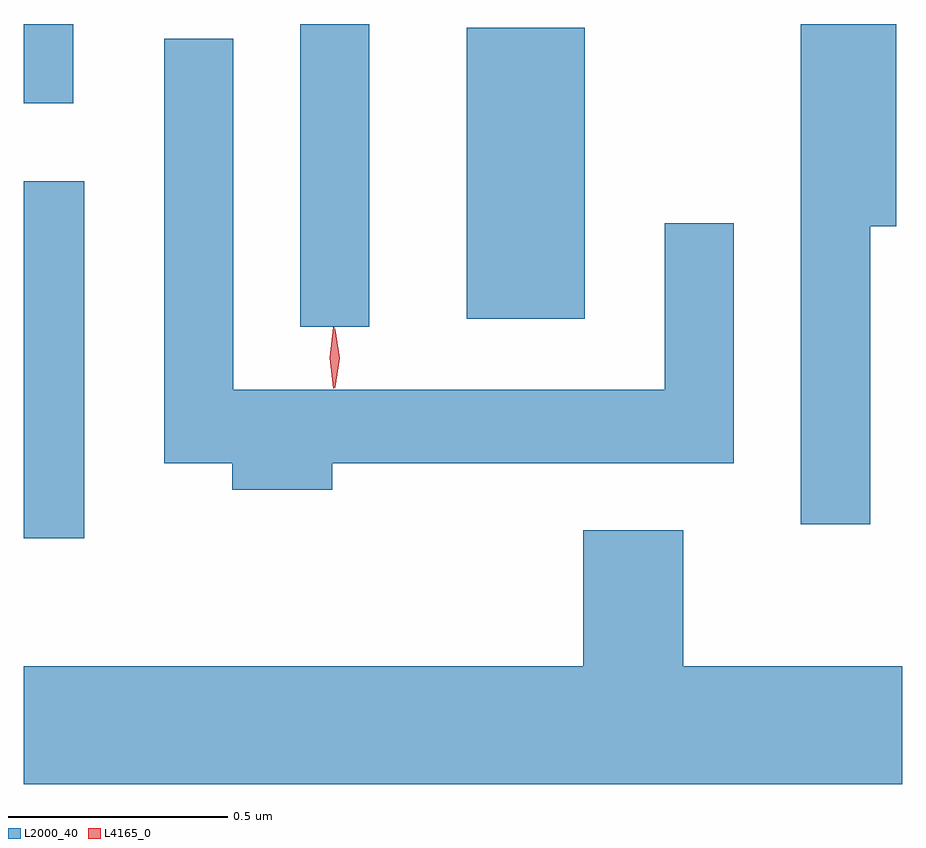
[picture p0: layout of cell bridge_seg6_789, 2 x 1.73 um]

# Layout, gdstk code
import gdstk
lib = gdstk.Library(unit=1e-6, precision=1e-09)
def R(c, l, rs):  # rectangles x0, y0, x1, y1
    for r in rs: c.add(gdstk.rectangle(r[:2], r[2:], *l))
def P(c, l, *ps):  # polygons
    for p in ps: c.add(gdstk.Polygon(p, *l))
L2000_40 = (2000, 40)
L4165_0 = (4165, 0)

bridge_seg6_789 = lib.new_cell('bridge_seg6_789')
R(bridge_seg6_789, L2000_40, [(492.487,1548.376,492.624,1549.189), (493.116,1548.858,493.274,1549.547), (493.496,1548.876,493.764,1549.539), (492.487,1549.366,492.599,1549.547)])
P(bridge_seg6_789, L2000_40, [(494.414,1549.086),(494.474,1549.086),(494.474,1549.547),(494.256,1549.547),(494.256,1548.408),(494.414,1548.408)],
  [(493.189,1548.546),(494.104,1548.546),(494.104,1549.093),(493.946,1549.093),(493.946,1548.714),(492.964,1548.714),(492.964,1549.513),(492.806,1549.513),(492.806,1548.546),(492.961,1548.546),(492.961,1548.486),(493.189,1548.486)],
  [(494.487,1548.084),(493.989,1548.084),(493.989,1548.394),(493.761,1548.394),(493.761,1548.084),(492.487,1548.084),(492.487,1547.816),(494.487,1547.816)])
P(bridge_seg6_789, L4165_0, [(493.192,1548.717),(493.183,1548.787),(493.192,1548.856),(493.193,1548.856),(493.194,1548.856),(493.203,1548.787),(493.194,1548.717),(493.193,1548.717)],
  [(493.196,1548.719),(493.195,1548.72),(493.185,1548.786),(493.195,1548.852),(493.196,1548.853),(493.196,1548.852),(493.206,1548.786),(493.196,1548.72)])

lib.write_gds('bridge_seg6_789.gds')
